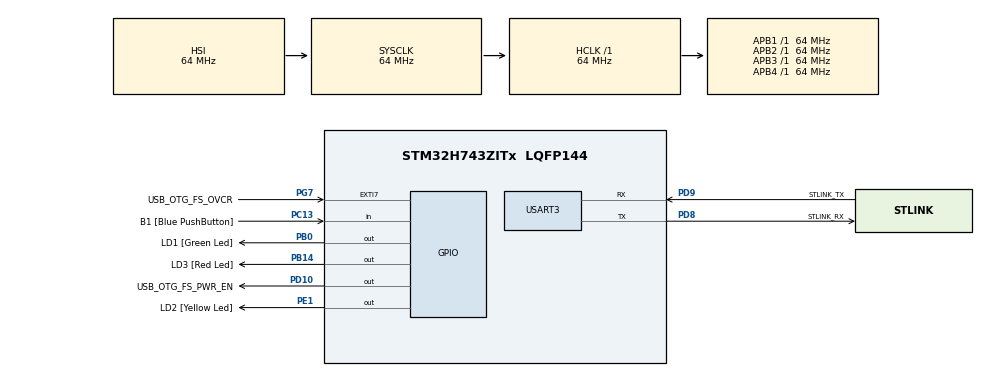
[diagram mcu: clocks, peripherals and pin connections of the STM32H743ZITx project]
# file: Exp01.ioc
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Mcu.Family=STM32H7
Mcu.Name=STM32H743ZITx
Mcu.Package=LQFP144
NVIC.PriorityGroup=NVIC_PRIORITYGROUP_4
NVIC.TIM6_DAC_IRQn=true\:0\:0\:false\:false\:true\:true\:true\:true
PA1.Signal=ETH_REF_CLK
PA11.Signal=USB_OTG_FS_DM
PA12.Signal=USB_OTG_FS_DP
PA2.Signal=ETH_MDIO
PA7.Signal=ETH_CRS_DV
PA8.Signal=USB_OTG_FS_SOF
PA9.Signal=USB_OTG_FS_VBUS
PB0.GPIO_Label=LD1 [Green Led]
PB0.Signal=GPIO_Output
PB13.Signal=ETH_TXD1
PB14.GPIO_Label=LD3 [Red Led]
PB14.Signal=GPIO_Output
PC1.Signal=ETH_MDC
PC13.GPIO_Label=B1 [Blue PushButton]
PC13.Signal=GPIO_Input
PC14-OSC32_IN\ (OSC32_IN).Mode=LSE-External-Oscillator
PC14-OSC32_IN\ (OSC32_IN).Signal=RCC_OSC32_IN
PC15-OSC32_OUT\ (OSC32_OUT).Mode=LSE-External-Oscillator
PC15-OSC32_OUT\ (OSC32_OUT).Signal=RCC_OSC32_OUT
PC4.Signal=ETH_RXD0
PC5.Signal=ETH_RXD1
PD10.GPIO_Label=USB_OTG_FS_PWR_EN
PD10.Signal=GPIO_Output
PD8.GPIO_Label=STLINK_RX
PD8.Mode=Asynchronous
PD8.Signal=USART3_TX
PD9.GPIO_Label=STLINK_TX
PD9.Mode=Asynchronous
PD9.Signal=USART3_RX
PE1.GPIO_Label=LD2 [Yellow Led]
PE1.Signal=GPIO_Output
PG11.Signal=ETH_TX_EN
PG13.Signal=ETH_TXD0
PG7.GPIO_Label=USB_OTG_FS_OVCR
PG7.Signal=GPXTI7
PH0-OSC_IN\ (PH0).Mode=HSE-External-Clock-Source
PH0-OSC_IN\ (PH0).Signal=RCC_OSC_IN
PH1-OSC_OUT\ (PH1).Signal=RCC_OSC_OUT
ProjectManager.HeapSize=0x200
ProjectManager.StackSize=0x400
ProjectManager.TargetToolchain=STM32CubeIDE
RCC.ADCFreq_Value=16125000
RCC.APB1Freq_Value=64000000
RCC.APB2Freq_Value=64000000
RCC.APB3Freq_Value=64000000
RCC.APB4Freq_Value=64000000
RCC.CortexFreq_Value=64000000
RCC.DIVM1=1
RCC.DIVN1=24
RCC.DIVQ1=4
RCC.HCLKFreq_Value=64000000
RCC.HSE_VALUE=8000000
RCC.PLLFRACN=0
RCC.PLLSourceVirtual=RCC_PLLSOURCE_HSE
RCC.PWR_Regulator_Voltage_Scale=PWR_REGULATOR_VOLTAGE_SCALE2
RCC.SYSCLKFreq_VALUE=64000000
RCC.USBFreq_Value=48000000
USART3.VirtualMode-Asynchronous=VM_ASYNC
VP_MEMORYMAP_VS_MEMORYMAP.Mode=CurAppReg
VP_TIM6_VS_ClockSourceINT.Mode=Enable_Timer
board=NUCLEO-H743ZI2

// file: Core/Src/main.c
/* USER CODE BEGIN Header */
/**
  ******************************************************************************
  * @file           : main.c
  * @brief          : Main program body
  ******************************************************************************
  * @attention
  *
  * Copyright (c) 2023 STMicroelectronics.
  * All rights reserved.
  *
  * This software is licensed under terms that can be found in the LICENSE file
  * in the root directory of this software component.
  * If no LICENSE file comes with this software, it is provided AS-IS.
  *
  ******************************************************************************
  */
/* USER CODE END Header */
#include "main.h"
#include "memorymap.h"
#include "tim.h"
#include "usart.h"
#include "gpio.h"
#include <stdbool.h>

/* USER CODE BEGIN PD */
unsigned int numero_cicli;
/* USER CODE END PD */

void SystemClock_Config(void);

int main(void)
{

  /* USER CODE BEGIN 1 */

//Queste sono variabili che useremo
//Abituiamoci ad inserire commenti
	unsigned int cc=2000;
	unsigned int attesa= 1;
  unsigned int il_clock_impostato,  ripetizioni;
  char led_acceso=1;
  cc = 0xff;

//Un indirizzo che possiamo usare per un attimo: 0x2407fff8

//Cominciamo ad abituarci ad evitare l'uso dei numeri, quando . Usiamo invece definizioni o
//dichiarazioni di variabili e/o costanti
	#define interruttore_lampadina  GPIOB->BSRR
	#define accendi_lampadina (1<<0)
	#define spegni_lampadina (1<<(0+16))

//Useremo tra poco per misurare il tempo
	DWT->CTRL |= DWT_CTRL_CYCCNTENA_Msk ; //Abilitiamo il conta cicli macchina
	DBGMCU->APB1LFZ1 |= DBGMCU_APB1LFZ1_DBG_TIM6_Msk; //Stoppiamo TIM6 al breakpoint
	DWT->CYCCNT=0;  //Azzeriamo il contacicli macchina per comodità

	il_clock_impostato = HAL_RCC_GetSysClockFreq ()  ;
	ripetizioni = il_clock_impostato / 12;
  /* USER CODE END 1 */

  /* MCU Configuration--------------------------------------------------------*/

  /* Reset of all peripherals, Initializes the Flash interface and the Systick. */
  HAL_Init();

  /* Configure the system clock */
  SystemClock_Config();

  /* Initialize all configured peripherals */
  MX_GPIO_Init();
  MX_USART3_UART_Init();
  MX_TIM6_Init();
  /* USER CODE BEGIN 2 */
  cc &= 1<<3;
  USART3->CR1 |=USART_CR1_TCIE;

  TIM6 -> CNT = 0;
  TIM6 -> CR1 |= TIM_CR1_CEN;

  //CR  -> Control register
  //CEN -> Control Enable
  //CNT -> Counter

  /* USER CODE END 2 */

  //set scaler ( il counter conta CLOCK/SCALER)
  TIM6->PSC = 1000;

  //set the end timer
  TIM6->ARR = 60000;
  /* Infinite loop */
  /* USER CODE BEGIN WHILE */
  TIM6->CR1 = TIM_CR1_CEN;
  while (1)
  {
	  while( TIM6->SR )
	  {
		  // GPIOB = led
		  // BSRR = registro per attivarlo
		  // BR0 reset , BS0 turn on
		  TIM6->SR = 0;
		  if (GPIOB->IDR&1<<0){
			  GPIOB ->BSRR |= GPIO_BSRR_BR0;
		  }
		  else{
			  GPIOB ->BSRR |= GPIO_BSRR_BS0;
		  }
	  }
  }
//  {
//    /* USER CODE END WHILE */
//	  if( DWT->CYCCNT > il_clock_impostato && ~(GPIOB->IDR&1<<0)){
//		  DWT->CYCCNT = 0;
//		  GPIOB ->BSRR |= GPIO_BSRR_BS0;
//	  }
//	  if( DWT->CYCCNT > il_clock_impostato && (GPIOB->IDR&1<<0)){
//	  		DWT->CYCCNT = 0;
//	  		GPIOB ->BSRR |= GPIO_BSRR_BR0;
//	  	  }
//
//    /* USER CODE BEGIN 3 */
//  }
  /* USER CODE END 3 */
}

void SystemClock_Config(void)
{
  RCC_OscInitTypeDef RCC_OscInitStruct = {0};
  RCC_ClkInitTypeDef RCC_ClkInitStruct = {0};

  /** Supply configuration update enable
  */
  HAL_PWREx_ConfigSupply(PWR_LDO_SUPPLY);

  /** Configure the main internal regulator output voltage
  */
  __HAL_PWR_VOLTAGESCALING_CONFIG(PWR_REGULATOR_VOLTAGE_SCALE2);

  while(!__HAL_PWR_GET_FLAG(PWR_FLAG_VOSRDY)) {}

  /** Initializes the RCC Oscillators according to the specified parameters
  * in the RCC_OscInitTypeDef structure.
  */
  RCC_OscInitStruct.OscillatorType = RCC_OSCILLATORTYPE_HSI;
  RCC_OscInitStruct.HSIState = RCC_HSI_DIV1;
  RCC_OscInitStruct.HSICalibrationValue = RCC_HSICALIBRATION_DEFAULT;
  RCC_OscInitStruct.PLL.PLLState = RCC_PLL_NONE;
  if (HAL_RCC_OscConfig(&RCC_OscInitStruct) != HAL_OK)
  {
    Error_Handler();
  }

  /** Initializes the CPU, AHB and APB buses clocks
  */
  RCC_ClkInitStruct.ClockType = RCC_CLOCKTYPE_HCLK|RCC_CLOCKTYPE_SYSCLK
                              |RCC_CLOCKTYPE_PCLK1|RCC_CLOCKTYPE_PCLK2
                              |RCC_CLOCKTYPE_D3PCLK1|RCC_CLOCKTYPE_D1PCLK1;
  RCC_ClkInitStruct.SYSCLKSource = RCC_SYSCLKSOURCE_HSI;
  RCC_ClkInitStruct.SYSCLKDivider = RCC_SYSCLK_DIV1;
  RCC_ClkInitStruct.AHBCLKDivider = RCC_HCLK_DIV1;
  RCC_ClkInitStruct.APB3CLKDivider = RCC_APB3_DIV1;
  RCC_ClkInitStruct.APB1CLKDivider = RCC_APB1_DIV1;
  RCC_ClkInitStruct.APB2CLKDivider = RCC_APB2_DIV1;
  RCC_ClkInitStruct.APB4CLKDivider = RCC_APB4_DIV1;

  if (HAL_RCC_ClockConfig(&RCC_ClkInitStruct, FLASH_LATENCY_1) != HAL_OK)
  {
    Error_Handler();
  }
}

void Error_Handler(void)
{
  __disable_irq();
  while (1)
  {
  }
}
